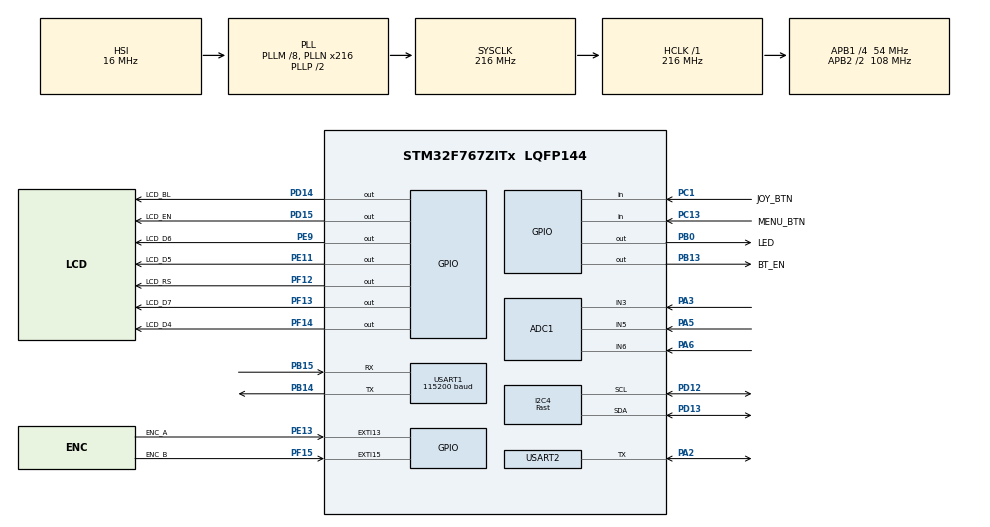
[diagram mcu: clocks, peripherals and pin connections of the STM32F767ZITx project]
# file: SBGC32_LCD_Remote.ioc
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ADC1.Channel-0\#ChannelRegularConversion=ADC_CHANNEL_3
ADC1.Channel-1\#ChannelRegularConversion=ADC_CHANNEL_5
ADC1.Channel-2\#ChannelRegularConversion=ADC_CHANNEL_6
ADC1.NbrOfConversion=3
ADC1.NbrOfConversionFlag=1
ADC1.Rank-0\#ChannelRegularConversion=1
ADC1.Rank-1\#ChannelRegularConversion=2
ADC1.Rank-2\#ChannelRegularConversion=3
ADC1.SamplingTime-0\#ChannelRegularConversion=ADC_SAMPLETIME_480CYCLES
ADC1.SamplingTime-1\#ChannelRegularConversion=ADC_SAMPLETIME_480CYCLES
ADC1.SamplingTime-2\#ChannelRegularConversion=ADC_SAMPLETIME_480CYCLES
ADC1.ScanConvMode=ADC_SCAN_ENABLE
ADC1.master=1
I2C4.I2C_Fall_Time=100
I2C4.I2C_Rise_Time=100
I2C4.I2C_Speed_Mode=I2C_Fast
I2C4.Timing=0x00A01B56
Mcu.Family=STM32F7
Mcu.Name=STM32F767ZITx
Mcu.Package=LQFP144
NVIC.ADC_IRQn=true\:7\:0\:true\:false\:true\:true\:true\:true
NVIC.EXTI15_10_IRQn=true\:5\:0\:true\:false\:true\:true\:true\:true
NVIC.PriorityGroup=NVIC_PRIORITYGROUP_4
NVIC.TIM2_IRQn=true\:3\:0\:true\:false\:true\:true\:true\:true
NVIC.USART1_IRQn=true\:1\:0\:true\:false\:true\:true\:true\:true
PA2.Mode=Half_duplex(single_wire_mode)
PA2.Signal=USART2_TX
PA3.GPIO_PuPd=GPIO_NOPULL
PA3.Signal=ADCx_IN3
PA5.GPIO_PuPd=GPIO_NOPULL
PA5.Signal=ADCx_IN5
PA6.Signal=ADCx_IN6
PB0.GPIO_Label=LED
PB0.Signal=GPIO_Output
PB13.GPIO_Label=BT_EN
PB13.Signal=GPIO_Output
PB14.Mode=Asynchronous
PB14.Signal=USART1_TX
PB15.GPIO_PuPd=GPIO_PULLUP
PB15.Mode=Asynchronous
PB15.Signal=USART1_RX
PC1.GPIO_Label=JOY_BTN
PC1.GPIO_PuPd=GPIO_PULLDOWN
PC1.Signal=GPIO_Input
PC13.GPIO_Label=MENU_BTN
PC13.GPIO_PuPd=GPIO_PULLDOWN
PC13.Signal=GPIO_Input
PD12.Mode=I2C
PD12.Signal=I2C4_SCL
PD13.Mode=I2C
PD13.Signal=I2C4_SDA
PD14.GPIO_Label=LCD_BL
PD14.GPIO_PuPd=GPIO_PULLDOWN
PD14.GPIO_Speed=GPIO_SPEED_FREQ_HIGH
PD14.Signal=GPIO_Output
PD15.GPIO_Label=LCD_EN
PD15.GPIO_PuPd=GPIO_PULLDOWN
PD15.GPIO_Speed=GPIO_SPEED_FREQ_HIGH
PD15.Signal=GPIO_Output
PE11.GPIO_Label=LCD_D5
PE11.GPIO_PuPd=GPIO_PULLDOWN
PE11.GPIO_Speed=GPIO_SPEED_FREQ_HIGH
PE11.Signal=GPIO_Output
PE13.GPIO_Label=ENC_A
PE13.GPIO_ModeDefaultEXTI=GPIO_MODE_IT_FALLING
PE13.GPIO_PuPd=GPIO_PULLUP
PE13.Signal=GPXTI13
PE9.GPIO_Label=LCD_D6
PE9.GPIO_PuPd=GPIO_PULLDOWN
PE9.GPIO_Speed=GPIO_SPEED_FREQ_HIGH
PE9.Signal=GPIO_Output
PF12.GPIO_Label=LCD_RS
PF12.GPIO_PuPd=GPIO_PULLDOWN
PF12.GPIO_Speed=GPIO_SPEED_FREQ_HIGH
PF12.Signal=GPIO_Output
PF13.GPIO_Label=LCD_D7
PF13.GPIO_PuPd=GPIO_PULLDOWN
PF13.GPIO_Speed=GPIO_SPEED_FREQ_HIGH
PF13.Signal=GPIO_Output
PF14.GPIO_Label=LCD_D4
PF14.GPIO_PuPd=GPIO_PULLDOWN
PF14.GPIO_Speed=GPIO_SPEED_FREQ_HIGH
PF14.Signal=GPIO_Output
PF15.GPIO_Label=ENC_B
PF15.GPIO_ModeDefaultEXTI=GPIO_MODE_IT_FALLING
PF15.GPIO_PuPd=GPIO_PULLUP
PF15.Signal=GPXTI15
ProjectManager.HeapSize=0x200
ProjectManager.StackSize=0x400
ProjectManager.TargetToolchain=STM32CubeIDE
RCC.AHBFreq_Value=216000000
RCC.APB1CLKDivider=RCC_HCLK_DIV4
RCC.APB1Freq_Value=54000000
RCC.APB1TimFreq_Value=108000000
RCC.APB2CLKDivider=RCC_HCLK_DIV2
RCC.APB2Freq_Value=108000000
RCC.APB2TimFreq_Value=216000000
RCC.CortexFreq_Value=216000000
RCC.HCLKFreq_Value=216000000
RCC.HSE_VALUE=25000000
RCC.HSI_VALUE=16000000
RCC.LSE_VALUE=32768
RCC.PLLM=8
RCC.PLLN=216
RCC.SYSCLKFreq_VALUE=216000000
RCC.SYSCLKSource=RCC_SYSCLKSOURCE_PLLCLK
RCC.USBFreq_Value=216000000
RCC.VCOOutputFreq_Value=432000000
SH.ADCx_IN3.0=ADC1_IN3,IN3
SH.ADCx_IN5.0=ADC1_IN5,IN5
SH.ADCx_IN6.0=ADC1_IN6,IN6
TIM2.Period=999
TIM2.Prescaler=107
TIM2.TIM_MasterOutputTrigger=TIM_TRGO_UPDATE
USART1.BaudRate=115200
USART1.OverSampling=UART_OVERSAMPLING_16
USART1.VirtualMode-Asynchronous=VM_ASYNC
USART2.OverSampling=UART_OVERSAMPLING_8
USART2.VirtualMode-Half_duplex(single_wire_mode)=VM_ASYNC
VP_TIM2_VS_ClockSourceINT.Mode=Internal
board=custom

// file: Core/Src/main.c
/* USER CODE BEGIN Header */
/**
  ******************************************************************************
  * @file           : main.c
  * @brief          : Main program body
  ******************************************************************************
  * @attention
  *
  * Copyright (c) 2022 STMicroelectronics.
  * All rights reserved.
  *
  * This software is licensed under terms that can be found in the LICENSE file
  * in the root directory of this software component.
  * If no LICENSE file comes with this software, it is provided AS-IS.
  *
  ******************************************************************************
  */
/* USER CODE END Header */
#include "main.h"
#include "adc.h"
#include "i2c.h"
#include "tim.h"
#include "usart.h"
#include "gpio.h"

/* USER CODE BEGIN Includes */

#include "app.h"

/* USER CODE END Includes */

void SystemClock_Config(void);

/* USER CODE BEGIN 0 */

/* ‾‾‾‾‾‾‾‾‾‾‾‾‾‾‾‾‾‾‾‾‾‾‾‾‾‾‾‾‾‾‾‾‾‾‾‾‾‾‾‾‾‾‾‾‾‾‾‾‾‾‾‾‾‾‾‾‾‾‾‾‾‾‾‾‾‾ */
/*                       Global Software Objects                      */
/* __________________________________________________________________ */

			sbgcGeneral_t			SBGC32_Device;

static 		sbgcControl_t			Control = { 0 };
static		sbgcControlConfig_t		ControlConfig = { 0 };

static		sbgcRealTimeData_t		RealTimeData;
static		sbgcGetAnglesExt_t		GetAnglesExt;

static		sbgcConfirm_t			Confirm;

static		LCD_RemoteGeneral_t		LCD_RemoteGeneral;

			InputsInfo_t			InputsInfo;

/* A set of adjustable variables that can be changed by the encoder knob.
   You may add any variables listed in the sbgcAdjVarID_t
   Be careful, this structure is placed into the RAM, which
   may be a problem with the low memory of boards */
static sbgcAdjVarGeneral_t AdjVarGeneral [] =
{
	  {	ADJ_VAR_RC_TRIM_YAW, (char*)"RC Trim YAW", -127, 127, .value = 0, AV_NOT_SYNCHRONIZED, AV_SAVED
	},{	ADJ_VAR_RC_SPEED_PITCH, (char*)"RC Speed PITCH", 0, 255, .value = 100, AV_NOT_SYNCHRONIZED, AV_SAVED
	},{	ADJ_VAR_RC_SPEED_YAW, (char*)"RC Speed YAW", 0, 255, .value = 100, AV_NOT_SYNCHRONIZED, AV_SAVED
	},{	ADJ_VAR_FOLLOW_SPEED_PITCH, (char*)"Follow Speed PITCH", 0, 255, .value = 50, AV_NOT_SYNCHRONIZED, AV_SAVED
	},{	ADJ_VAR_FOLLOW_SPEED_YAW, (char*)"Follow Speed YAW", 0, 255, .value = 50, AV_NOT_SYNCHRONIZED, AV_SAVED
	},{	ADJ_VAR_FOLLOW_LPF_PITCH, (char*)"Follow LPF PITCH", 0, 15, .value = 5, AV_NOT_SYNCHRONIZED, AV_SAVED
	},{	ADJ_VAR_FOLLOW_LPF_YAW, (char*)"Follow LPF YAW", 0, 15, .value = 5, AV_NOT_SYNCHRONIZED, AV_SAVED
	},{	ADJ_VAR_FOLLOW_DEADBAND, (char*)"Follow Deadband", 0, 255, .value = 0, AV_NOT_SYNCHRONIZED, AV_SAVED

}};

/* USER CODE END 0 */

int main(void)
{

  /* MCU Configuration--------------------------------------------------------*/

  /* Reset of all peripherals, Initializes the Flash interface and the Systick. */
  HAL_Init();

  /* Configure the system clock */
  SystemClock_Config();

  /* Initialize all configured peripherals */
  MX_GPIO_Init();
  MX_ADC1_Init();
  MX_TIM2_Init();
  MX_USART1_UART_Init();
  MX_USART2_UART_Init();
  MX_I2C4_Init();
  /* USER CODE BEGIN 2 */

	begin(16, 2);  // LCD Init
	WRITE_PIN(LCD_BL_GPIO_Port, LCD_BL_Pin, 1);  // LCD Backlight ON

	InitADC(&InputsInfo, JOYSTICK_ADC);
	InitI2C(&InputsInfo, ENCODER_I2C);

	/* SimpleBGC32 Init */
	SBGC32_Init(&SBGC32_Device);

	#if ((defined BLUETOOTH_DO_SETUP) && (defined BLUETOOTH_CONNECTION))

		/* Bluetooth initialization */
		WRITE_PIN(BT_EN_GPIO_Port, BT_EN_Pin, 1);  // The HC_05 EN pin became high level
		sbgcDelay(200);
		BT_MasterConnect(&SBGC32_Device);
		WRITE_PIN(BT_EN_GPIO_Port, BT_EN_Pin, 0);  // The HC_05 EN pin became low level
		sbgcDelay(BLUETOOTH_CONNECT_WAITING * 1000);

	#endif

	/* Control Configurations */
	Control.mode[PITCH] = CtrlMODE_ANGLE;
	Control.mode[YAW] = CtrlMODE_ANGLE;

	Control.AxisC[ROLL].angle = 0;
	Control.AxisC[PITCH].angle = 0;

	Control.AxisC[PITCH].speed = 0;
	Control.AxisC[YAW].speed = 0;

	#ifdef FLYWHEEL_CONTROL

		GetEncoderAngles(&InputsInfo);
		InputsInfo.FE_OldAngle = InputsInfo.FE_CurrentAngle;

	#endif

	ControlConfig.flags = CtrlCONFIG_FLAG_NO_CONFIRM;

	AverageInit(&LCD_RemoteGeneral.TargetErrorAverage, TARGET_LOW_PASS_FACTOR);
	AverageInit(&LCD_RemoteGeneral.JoystickAverage[0], JOY_LOW_PASS_FACTOR);
	AverageInit(&LCD_RemoteGeneral.JoystickAverage[1], JOY_LOW_PASS_FACTOR);

	LCD_RemoteGeneral.adjVarQuan = countof_(AdjVarGeneral);
	LCD_RemoteGeneral.currentAdjVarIndex = 0;

	LCD_RemoteGeneral.currentTimeMs = 0;
	LCD_RemoteGeneral.rtReqCmdTimeMs = 0;

	LCD_RemoteGeneral.connectFlag = 0;
	LCD_RemoteGeneral.currentPage = 0;

	LCD_RemoteGeneral.updateDisplayFlagEnable = DISPLAY_UPDATE_ENABLED;

	LCD_RemoteGeneral.motorsCurrentState = MOTORS_ON;

	SBGC32_ControlConfig(&SBGC32_Device, &ControlConfig, SBGC_NO_CONFIRM);

	SBGC32_GetAnglesExt(&SBGC32_Device, &GetAnglesExt);
	Control.AxisC[YAW].angle = (i16)GetAnglesExt.AxisGAE[YAW].frameCamAngle;

  /* USER CODE END 2 */

  /* Infinite loop */
  /* USER CODE BEGIN WHILE */
  while (1)
  {
		/* Getting current time */
		LCD_RemoteGeneral.currentTimeMs = sbgcGetTick();

		/*  - - - - - - - - - Controllers Handler - - - - - - - - - - */

		if ((LCD_RemoteGeneral.currentTimeMs - LCD_RemoteGeneral.controlPause > MOTORS_ON_CONTROL_PAUSE) &&
			(LCD_RemoteGeneral.motorsCurrentState == MOTORS_ON))
		{
			#ifdef FLYWHEEL_CONTROL

				GetEncoderAngles(&InputsInfo);

				InputsInfo.deltaFW = InputsInfo.FE_CurrentAngle - InputsInfo.FE_OldAngle;

				if (abs(InputsInfo.deltaFW) > FLYWHEEL_ERROR)
				{
					if (abs(InputsInfo.deltaFW) < 2048)
						Control.AxisC[YAW].angle += InputsInfo.deltaFW * FLYWHEEL_SENSITIVITY;

					InputsInfo.FE_OldAngle = InputsInfo.FE_CurrentAngle;
					SBGC32_Control(&SBGC32_Device, &Control);
					/* SBGC32_CheckConfirmation(&SBGC32_Device, CMD_CONTROL); */

					/* if (LCD_RemoteGeneral.updateDisplayFlagEnable == DISPLAY_UPDATE_ENABLED)
						LCD_RemoteGeneral.updateDisplayFlagEnable = DISPLAY_UPDATE_DISABLED; */
				}

				/* else if (LCD_RemoteGeneral.updateDisplayFlagEnable == DISPLAY_UPDATE_DISABLED)
				{
					LCD_RemoteGeneral.updateDisplayFlagEnable = DISPLAY_UPDATE_ENABLED;
					LCD_RemoteGeneral.lowRateTimeMs = LCD_RemoteGeneral.currentTimeMs;
					LCD_RemoteGeneral.updateDisplayFlag = DISPLAY_UPDATED;
				} */

			#endif

			#ifdef JOYSTICK_CONTROL

				ReadADC_Inputs(&InputsInfo);

				if ((abs(InputsInfo.ADC_INx[ADC_JOY_X] - JOY_X_NEUTRAL) > JOYSTICK_ERROR ||
					(abs(InputsInfo.ADC_INx[ADC_JOY_Y] - JOY_Y_NEUTRAL) > JOYSTICK_ERROR)) &&
					(LCD_RemoteGeneral.currentTimeMs - LCD_RemoteGeneral.gimbalCtrlTimeMs) > CMD_CONTROL_DELAY)
				{

					Control.AxisC[PITCH].angle = InputsInfo.ADC_INx[ADC_JOY_X] - JOY_X_NEUTRAL;
					Control.AxisC[YAW].angle = InputsInfo.ADC_INx[ADC_JOY_Y] - JOY_Y_NEUTRAL;
					SBGC32_Control(&SBGC32_Device, &Control);
					/* SBGC32_CheckConfirmation(&SBGC32_Device, CMD_CONTROL); */

					LCD_RemoteGeneral.gimbalCtrlTimeMs = LCD_RemoteGeneral.currentTimeMs;

					/* if (LCD_RemoteGeneral.updateDisplayFlagEnable == DISPLAY_UPDATE_ENABLED)
						LCD_RemoteGeneral.updateDisplayFlagEnable = DISPLAY_UPDATE_DISABLED; */
				}

				if ((abs(InputsInfo.ADC_INx[ADC_JOY_X] - JOY_X_NEUTRAL) <= JOYSTICK_ERROR) &&
					(abs(InputsInfo.ADC_INx[ADC_JOY_Y] - JOY_Y_NEUTRAL) <= JOYSTICK_ERROR) &&
					((LCD_RemoteGeneral.currentTimeMs - LCD_RemoteGeneral.gimbalCtrlTimeMs) > CMD_CONTROL_DELAY) &&
					(LCD_RemoteGeneral.updateDisplayFlagEnable == DISPLAY_UPDATE_DISABLED))
				{
					/* LCD_RemoteGeneral.updateDisplayFlagEnable = DISPLAY_UPDATE_ENABLED;
					LCD_RemoteGeneral.lowRateTimeMs = LCD_RemoteGeneral.currentTimeMs;
					LCD_RemoteGeneral.updateDisplayFlag = DISPLAY_UPDATED; */

					Control.AxisC[PITCH].angle = 0;
					Control.AxisC[YAW].angle = 0;
					SBGC32_Control(&SBGC32_Device, &Control);
					/* SBGC32_CheckConfirmation(&SBGC32_Device, CMD_CONTROL); */
				}

			#endif
		}

		/* - - - - - - - - - - Knob Encoder Handler - - - - - - - - - */

		if (InputsInfo.KE_CurrentValue != 0)
		{
			SerialAPI_EditAdjVarValue(&AdjVarGeneral[LCD_RemoteGeneral.currentAdjVarIndex],
					(AdjVarGeneral[LCD_RemoteGeneral.currentAdjVarIndex].value + (InputsInfo.KE_CurrentValue * ADJ_VAR_STEP)));

			InputsInfo.KE_CurrentValue = 0;

			LCD_RemoteGeneral.updateDisplayFlag = DISPLAY_NOT_UPDATED;
		}

		/* - - - - - - - - - - - Menu Handler - - - - - - - - - - - - */

		/* Process navigation */
		if (DebounceNavigationButton(&LCD_RemoteGeneral, ReadNavigationButtonState(&InputsInfo)))
		{
			switch (LCD_RemoteGeneral.NavButton.triggerState)
			{
				case NAV_BTN_RIGHT :
					LCD_RemoteGeneral.currentAdjVarIndex =
							(LCD_RemoteGeneral.currentAdjVarIndex + 1) % LCD_RemoteGeneral.adjVarQuan;
					break;

				case NAV_BTN_LEFT :  /* Select prev adj. var */
					LCD_RemoteGeneral.currentAdjVarIndex =
							(LCD_RemoteGeneral.currentAdjVarIndex + (LCD_RemoteGeneral.adjVarQuan - 1)) % LCD_RemoteGeneral.adjVarQuan;
					break;

				case NAV_BTN_UP :  /* Select next page */
					LCD_RemoteGeneral.currentPage++;
					break;

				case NAV_BTN_DOWN :  /* Select prev page */
					LCD_RemoteGeneral.currentPage--;
					break;

				case NAV_BTN_SELECT:  /* Turn motors ON/OFF */
					SBGC32_ExecuteMenu(&SBGC32_Device, MENU_CMD_MOTOR_TOGGLE, &Confirm);

					if (SerialAPI_GetConfirmStatus(&Confirm) == sbgcCONFIRM_RECEIVED)
					{
						LCD_RemoteGeneral.motorsCurrentState = (LCD_RemoteGeneral.motorsCurrentState == MOTORS_ON) ? MOTORS_OFF : MOTORS_ON;
						if (LCD_RemoteGeneral.motorsCurrentState == MOTORS_ON)
							LCD_RemoteGeneral.controlPause = LCD_RemoteGeneral.currentTimeMs;
					}
					break;

				case NAV_BTN_ENCODER_SELECT:
					SBGC32_SaveAdjVarsToEEPROM(&SBGC32_Device, AdjVarGeneral, LCD_RemoteGeneral.adjVarQuan, SBGC_NO_CONFIRM);
					break;

				default:
					break;
			}

			/* Update display immediately to reduce lag */
			LCD_RemoteGeneral.updateDisplayFlag = DISPLAY_NOT_UPDATED;
		}

		/*  - - - - - - - - - - Buttons Handling - - - - - - - - - - */

		/* Menu Button */
		if (ReadButtonState(MENU_BTN_PORT, MENU_BTN_PIN))
		{
			if (InputsInfo.menuBtn == BTN_RELEASED)
			{
				LCD_RemoteGeneral.btnTimeMs = LCD_RemoteGeneral.currentTimeMs;
				InputsInfo.menuBtn = BTN_PRESSED;
			}

			if ((LCD_RemoteGeneral.currentTimeMs - LCD_RemoteGeneral.btnTimeMs > SOFTWARE_ANTI_BOUNCE) &&
				(InputsInfo.menuBtn != BTN_POST_PRESSED))
			{
				SBGC32_ExecuteMenu(&SBGC32_Device, MENU_CMD_BUTTON_PRESS, &Confirm);

				if (SerialAPI_GetConfirmStatus(&Confirm) == sbgcCONFIRM_RECEIVED)
					InputsInfo.menuBtn = BTN_POST_PRESSED;
			}
		}

		else if ((LCD_RemoteGeneral.currentTimeMs - LCD_RemoteGeneral.btnTimeMs > SOFTWARE_ANTI_BOUNCE) &&
				 (InputsInfo.menuBtn != BTN_RELEASED))
			InputsInfo.menuBtn = BTN_RELEASED;

		/* - - - - - - - - - AdjVarGeneral Handler - - - - - - - - - */

		/* Send the value of updated adjvars to the board */
		SBGC32_SetAdjVarValues(&SBGC32_Device, AdjVarGeneral, LCD_RemoteGeneral.adjVarQuan, SBGC_NO_CONFIRM);

		/* - - - - - - - - - - - SBGC Handler - - - - - - - - - - - - */

		ProcessHandler(&SBGC32_Device, &LCD_RemoteGeneral, &RealTimeData, AdjVarGeneral);

		/* Request realtime data with the fixed rate */
		if ((LCD_RemoteGeneral.currentTimeMs - LCD_RemoteGeneral.rtReqCmdTimeMs) > REALTIME_DATA_REQUEST_INTERAL_MS)
		{
			if (SBGC32_ReadRealTimeData4(&SBGC32_Device, &RealTimeData) == sbgcCOMMAND_OK)
				LCD_RemoteGeneral.rtReqCmdTimeMs = LCD_RemoteGeneral.currentTimeMs;
		}

		/* - - - - - - - - - - Display Updating - - - - - - - - - - - */

		/* Low-rate tasks */
		if (((LCD_RemoteGeneral.currentTimeMs - LCD_RemoteGeneral.lowRateTimeMs) > LOW_RATE_TASK_INTERVAL ||
			  LCD_RemoteGeneral.updateDisplayFlag) && !LCD_RemoteGeneral.updateDisplayFlagEnable)
			UpdateDisplay(&SBGC32_Device, &LCD_RemoteGeneral, &RealTimeData, AdjVarGeneral);  // Update LCD to display animation and state

    /* USER CODE END WHILE */

  }
}

void SystemClock_Config(void)
{
  RCC_OscInitTypeDef RCC_OscInitStruct = {0};
  RCC_ClkInitTypeDef RCC_ClkInitStruct = {0};

  /** Configure the main internal regulator output voltage
  */
  __HAL_RCC_PWR_CLK_ENABLE();
  __HAL_PWR_VOLTAGESCALING_CONFIG(PWR_REGULATOR_VOLTAGE_SCALE1);

  /** Initializes the RCC Oscillators according to the specified parameters
  * in the RCC_OscInitTypeDef structure.
  */
  RCC_OscInitStruct.OscillatorType = RCC_OSCILLATORTYPE_HSI;
  RCC_OscInitStruct.HSIState = RCC_HSI_ON;
  RCC_OscInitStruct.HSICalibrationValue = RCC_HSICALIBRATION_DEFAULT;
  RCC_OscInitStruct.PLL.PLLState = RCC_PLL_ON;
  RCC_OscInitStruct.PLL.PLLSource = RCC_PLLSOURCE_HSI;
  RCC_OscInitStruct.PLL.PLLM = 8;
  RCC_OscInitStruct.PLL.PLLN = 216;
  RCC_OscInitStruct.PLL.PLLP = RCC_PLLP_DIV2;
  RCC_OscInitStruct.PLL.PLLQ = 2;
  RCC_OscInitStruct.PLL.PLLR = 2;
  if (HAL_RCC_OscConfig(&RCC_OscInitStruct) != HAL_OK)
  {
    Error_Handler();
  }

  /** Activate the Over-Drive mode
  */
  if (HAL_PWREx_EnableOverDrive() != HAL_OK)
  {
    Error_Handler();
  }

  /** Initializes the CPU, AHB and APB buses clocks
  */
  RCC_ClkInitStruct.ClockType = RCC_CLOCKTYPE_HCLK|RCC_CLOCKTYPE_SYSCLK
                              |RCC_CLOCKTYPE_PCLK1|RCC_CLOCKTYPE_PCLK2;
  RCC_ClkInitStruct.SYSCLKSource = RCC_SYSCLKSOURCE_PLLCLK;
  RCC_ClkInitStruct.AHBCLKDivider = RCC_SYSCLK_DIV1;
  RCC_ClkInitStruct.APB1CLKDivider = RCC_HCLK_DIV4;
  RCC_ClkInitStruct.APB2CLKDivider = RCC_HCLK_DIV2;

  if (HAL_RCC_ClockConfig(&RCC_ClkInitStruct, FLASH_LATENCY_7) != HAL_OK)
  {
    Error_Handler();
  }
}

/* USER CODE BEGIN 4 */

void SerialAPI_FatalErrorHandler (void)
{
	/* User common error handler */
	__disable_irq();

	while (1);
}

/* USER CODE END 4 */

void Error_Handler(void)
{
  __disable_irq();
  while (1)
  {
  }
}
